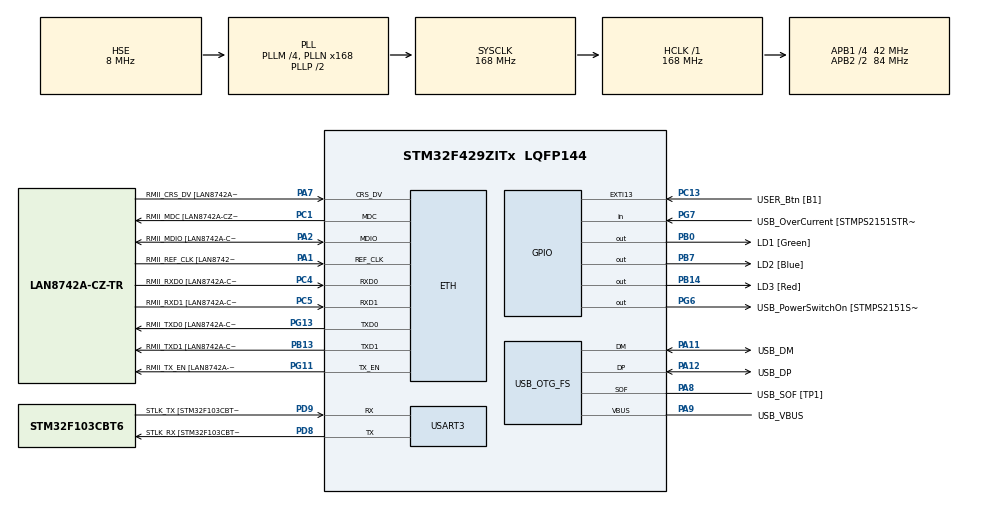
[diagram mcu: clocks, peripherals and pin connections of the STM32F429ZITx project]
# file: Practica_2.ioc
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ETH.MediaInterface=HAL_ETH_RMII_MODE
ETH.PHY_Name=LAN8742A_PHY_ADDRESS
ETH.PHY_Value=0
ETH.PhyAddress=0
Mcu.Family=STM32F4
Mcu.Name=STM32F429ZITx
Mcu.Package=LQFP144
NVIC.PriorityGroup=NVIC_PRIORITYGROUP_4
PA1.GPIO_Label=RMII_REF_CLK [LAN8742A-CZ-TR_REFCLK0]
PA1.Mode=RMII
PA1.Signal=ETH_REF_CLK
PA10.GPIO_Label=USB_ID
PA10.Signal=USB_OTG_FS_ID
PA11.GPIO_Label=USB_DM
PA11.Mode=Device_Only
PA11.Signal=USB_OTG_FS_DM
PA12.GPIO_Label=USB_DP
PA12.Mode=Device_Only
PA12.Signal=USB_OTG_FS_DP
PA13.GPIO_Label=TMS
PA13.Mode=Serial_Wire
PA13.Signal=SYS_JTMS-SWDIO
PA14.GPIO_Label=TCK
PA14.Mode=Serial_Wire
PA14.Signal=SYS_JTCK-SWCLK
PA2.GPIO_Label=RMII_MDIO [LAN8742A-CZ-TR_MDIO]
PA2.Mode=RMII
PA2.Signal=ETH_MDIO
PA7.GPIO_Label=RMII_CRS_DV [LAN8742A-CZ-TR_CRS_DV]
PA7.Mode=RMII
PA7.Signal=ETH_CRS_DV
PA8.GPIO_Label=USB_SOF [TP1]
PA8.Mode=Activate_SOF_FS
PA8.Signal=USB_OTG_FS_SOF
PA9.GPIO_Label=USB_VBUS
PA9.Mode=Activate_VBUS
PA9.Signal=USB_OTG_FS_VBUS
PB0.GPIO_Label=LD1 [Green]
PB0.Signal=GPIO_Output
PB13.GPIO_Label=RMII_TXD1 [LAN8742A-CZ-TR_TXD1]
PB13.Mode=RMII
PB13.Signal=ETH_TXD1
PB14.GPIO_Label=LD3 [Red]
PB14.Signal=GPIO_Output
PB7.GPIO_Label=LD2 [Blue]
PB7.Signal=GPIO_Output
PC1.GPIO_Label=RMII_MDC [LAN8742A-CZ-TR_MDC]
PC1.Mode=RMII
PC1.Signal=ETH_MDC
PC13.GPIO_Label=USER_Btn [B1]
PC13.Signal=GPXTI13
PC14/OSC32_IN.Mode=LSE-External-Oscillator
PC14/OSC32_IN.Signal=RCC_OSC32_IN
PC15/OSC32_OUT.Mode=LSE-External-Oscillator
PC15/OSC32_OUT.Signal=RCC_OSC32_OUT
PC4.GPIO_Label=RMII_RXD0 [LAN8742A-CZ-TR_RXD0]
PC4.Mode=RMII
PC4.Signal=ETH_RXD0
PC5.GPIO_Label=RMII_RXD1 [LAN8742A-CZ-TR_RXD1]
PC5.Mode=RMII
PC5.Signal=ETH_RXD1
PD8.GPIO_Label=STLK_RX [STM32F103CBT6_PA3]
PD8.Mode=Asynchronous
PD8.Signal=USART3_TX
PD9.GPIO_Label=STLK_TX [STM32F103CBT6_PA2]
PD9.Mode=Asynchronous
PD9.Signal=USART3_RX
PG11.GPIO_Label=RMII_TX_EN [LAN8742A-CZ-TR_TXEN]
PG11.Mode=RMII
PG11.Signal=ETH_TX_EN
PG13.GPIO_Label=RMII_TXD0 [LAN8742A-CZ-TR_TXD0]
PG13.Mode=RMII
PG13.Signal=ETH_TXD0
PG6.GPIO_Label=USB_PowerSwitchOn [STMPS2151STR_EN]
PG6.Signal=GPIO_Output
PG7.GPIO_Label=USB_OverCurrent [STMPS2151STR_FAULT]
PG7.Signal=GPIO_Input
PH0/OSC_IN.GPIO_Label=MCO [STM32F103CBT6_PA8]
PH0/OSC_IN.Mode=HSE-External-Clock-Source
PH0/OSC_IN.Signal=RCC_OSC_IN
PH1/OSC_OUT.Mode=HSE-External-Clock-Source
PH1/OSC_OUT.Signal=RCC_OSC_OUT
ProjectManager.HeapSize=0x200
ProjectManager.StackSize=0x400
ProjectManager.TargetToolchain=STM32CubeIDE
RCC.48MHZClocksFreq_Value=48000000
RCC.AHBFreq_Value=168000000
RCC.APB1CLKDivider=RCC_HCLK_DIV4
RCC.APB1Freq_Value=42000000
RCC.APB1TimFreq_Value=84000000
RCC.APB2CLKDivider=RCC_HCLK_DIV2
RCC.APB2Freq_Value=84000000
RCC.APB2TimCLKDivider=2
RCC.APB2TimFreq_Value=168000000
RCC.CortexFreq_Value=168000000
RCC.HCLKFreq_Value=168000000
RCC.HSE_VALUE=8000000
RCC.HSI_VALUE=16000000
RCC.PLLM=4
RCC.PLLMUL=RCC_PLL_MUL9
RCC.PLLN=168
RCC.PLLQ=7
RCC.PRESCALERUSB=RCC_USBCLKSOURCE_PLL_DIV1_5
RCC.SYSCLKFreq_VALUE=168000000
RCC.SYSCLKSource=RCC_SYSCLKSOURCE_PLLCLK
RCC.SYSCLKSourceVirtual=RCC_SYSCLKSOURCE_PLLCLK
RCC.USBFreq_Value=48000000
RCC.VCOOutputFreq_Value=336000000
USART3.VirtualMode=VM_ASYNC
USB_OTG_FS.VirtualMode=Device_Only
board=NUCLEO-F429ZI

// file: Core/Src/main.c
/* USER CODE BEGIN Header */
/**
  ******************************************************************************
  * @file           : main.c
  * @brief          : Main program body
  ******************************************************************************
  * @attention
  *
  * Copyright (c) 2023 STMicroelectronics.
  * All rights reserved.
  *
  * This software is licensed under terms that can be found in the LICENSE file
  * in the root directory of this software component.
  * If no LICENSE file comes with this software, it is provided AS-IS.
  *
  ******************************************************************************
  */
/* USER CODE END Header */
#include "main.h"
#include "string.h"

/* USER CODE BEGIN PD */
#define TimeGreenLed	100
#define TimeRedLed		500
#define	TimeBlueLed		1000
/* USER CODE END PD */

ETH_TxPacketConfig TxConfig;
ETH_DMADescTypeDef  DMARxDscrTab[ETH_RX_DESC_CNT]; /* Ethernet Rx DMA Descriptors */
ETH_DMADescTypeDef  DMATxDscrTab[ETH_TX_DESC_CNT]; /* Ethernet Tx DMA Descriptors */

ETH_HandleTypeDef heth;

UART_HandleTypeDef huart3;

PCD_HandleTypeDef hpcd_USB_OTG_FS;

void SystemClock_Config(void);
static void MX_GPIO_Init(void);
static void MX_ETH_Init(void);
static void MX_USART3_UART_Init(void);
static void MX_USB_OTG_FS_PCD_Init(void);

int main(void)
{

  /* MCU Configuration--------------------------------------------------------*/

  /* Reset of all peripherals, Initializes the Flash interface and the Systick. */
  HAL_Init();

  /* USER CODE BEGIN Init */
  delay_t delay;
  delay_t delayGreenLed, delayRedLed, delayBlueLed;

  /* USER CODE END Init */

  /* Configure the system clock */
  SystemClock_Config();

  /* Initialize all configured peripherals */
  MX_GPIO_Init();
  MX_ETH_Init();
  MX_USART3_UART_Init();
  MX_USB_OTG_FS_PCD_Init();
  /* USER CODE BEGIN 2 */
  delayInit(&delay,200);
  delayInit(&delayGreenLed,TimeGreenLed);
  delayInit(&delayRedLed,TimeBlueLed);
  delayInit(&delayBlueLed,TimeRedLed);

  /* USER CODE END 2 */

  /* Infinite loop */
  while (1)
  {
	  if(delayRead(&delayGreenLed))
		  HAL_GPIO_TogglePin(GPIOB,LD1_Pin);
	  if(delayRead(&delayRedLed))
		  HAL_GPIO_TogglePin(GPIOB,LD3_Pin);
	  if(delayRead(&delayBlueLed))
		  HAL_GPIO_TogglePin(GPIOB,LD2_Pin);

  }
}

void SystemClock_Config(void)
{
  RCC_OscInitTypeDef RCC_OscInitStruct = {0};
  RCC_ClkInitTypeDef RCC_ClkInitStruct = {0};

  /** Configure the main internal regulator output voltage
  */
  __HAL_RCC_PWR_CLK_ENABLE();
  __HAL_PWR_VOLTAGESCALING_CONFIG(PWR_REGULATOR_VOLTAGE_SCALE1);

  /** Initializes the RCC Oscillators according to the specified parameters
  * in the RCC_OscInitTypeDef structure.
  */
  RCC_OscInitStruct.OscillatorType = RCC_OSCILLATORTYPE_HSE;
  RCC_OscInitStruct.HSEState = RCC_HSE_BYPASS;
  RCC_OscInitStruct.PLL.PLLState = RCC_PLL_ON;
  RCC_OscInitStruct.PLL.PLLSource = RCC_PLLSOURCE_HSE;
  RCC_OscInitStruct.PLL.PLLM = 4;
  RCC_OscInitStruct.PLL.PLLN = 168;
  RCC_OscInitStruct.PLL.PLLP = RCC_PLLP_DIV2;
  RCC_OscInitStruct.PLL.PLLQ = 7;
  if (HAL_RCC_OscConfig(&RCC_OscInitStruct) != HAL_OK)
  {
    Error_Handler();
  }

  /** Initializes the CPU, AHB and APB buses clocks
  */
  RCC_ClkInitStruct.ClockType = RCC_CLOCKTYPE_HCLK|RCC_CLOCKTYPE_SYSCLK
                              |RCC_CLOCKTYPE_PCLK1|RCC_CLOCKTYPE_PCLK2;
  RCC_ClkInitStruct.SYSCLKSource = RCC_SYSCLKSOURCE_PLLCLK;
  RCC_ClkInitStruct.AHBCLKDivider = RCC_SYSCLK_DIV1;
  RCC_ClkInitStruct.APB1CLKDivider = RCC_HCLK_DIV4;
  RCC_ClkInitStruct.APB2CLKDivider = RCC_HCLK_DIV2;

  if (HAL_RCC_ClockConfig(&RCC_ClkInitStruct, FLASH_LATENCY_5) != HAL_OK)
  {
    Error_Handler();
  }
}

static void MX_ETH_Init(void)
{

   static uint8_t MACAddr[6];

  heth.Instance = ETH;
  MACAddr[0] = 0x00;
  MACAddr[1] = 0x80;
  MACAddr[2] = 0xE1;
  MACAddr[3] = 0x00;
  MACAddr[4] = 0x00;
  MACAddr[5] = 0x00;
  heth.Init.MACAddr = &MACAddr[0];
  heth.Init.MediaInterface = HAL_ETH_RMII_MODE;
  heth.Init.TxDesc = DMATxDscrTab;
  heth.Init.RxDesc = DMARxDscrTab;
  heth.Init.RxBuffLen = 1524;

  if (HAL_ETH_Init(&heth) != HAL_OK)
  {
    Error_Handler();
  }

  memset(&TxConfig, 0 , sizeof(ETH_TxPacketConfig));
  TxConfig.Attributes = ETH_TX_PACKETS_FEATURES_CSUM | ETH_TX_PACKETS_FEATURES_CRCPAD;
  TxConfig.ChecksumCtrl = ETH_CHECKSUM_IPHDR_PAYLOAD_INSERT_PHDR_CALC;
  TxConfig.CRCPadCtrl = ETH_CRC_PAD_INSERT;

}

static void MX_USART3_UART_Init(void)
{

  huart3.Instance = USART3;
  huart3.Init.BaudRate = 115200;
  huart3.Init.WordLength = UART_WORDLENGTH_8B;
  huart3.Init.StopBits = UART_STOPBITS_1;
  huart3.Init.Parity = UART_PARITY_NONE;
  huart3.Init.Mode = UART_MODE_TX_RX;
  huart3.Init.HwFlowCtl = UART_HWCONTROL_NONE;
  huart3.Init.OverSampling = UART_OVERSAMPLING_16;
  if (HAL_UART_Init(&huart3) != HAL_OK)
  {
    Error_Handler();
  }

}

static void MX_USB_OTG_FS_PCD_Init(void)
{

  hpcd_USB_OTG_FS.Instance = USB_OTG_FS;
  hpcd_USB_OTG_FS.Init.dev_endpoints = 4;
  hpcd_USB_OTG_FS.Init.speed = PCD_SPEED_FULL;
  hpcd_USB_OTG_FS.Init.dma_enable = DISABLE;
  hpcd_USB_OTG_FS.Init.phy_itface = PCD_PHY_EMBEDDED;
  hpcd_USB_OTG_FS.Init.Sof_enable = ENABLE;
  hpcd_USB_OTG_FS.Init.low_power_enable = DISABLE;
  hpcd_USB_OTG_FS.Init.lpm_enable = DISABLE;
  hpcd_USB_OTG_FS.Init.vbus_sensing_enable = ENABLE;
  hpcd_USB_OTG_FS.Init.use_dedicated_ep1 = DISABLE;
  if (HAL_PCD_Init(&hpcd_USB_OTG_FS) != HAL_OK)
  {
    Error_Handler();
  }

}

static void MX_GPIO_Init(void)
{
  GPIO_InitTypeDef GPIO_InitStruct = {0};

  /* GPIO Ports Clock Enable */
  __HAL_RCC_GPIOC_CLK_ENABLE();
  __HAL_RCC_GPIOH_CLK_ENABLE();
  __HAL_RCC_GPIOA_CLK_ENABLE();
  __HAL_RCC_GPIOB_CLK_ENABLE();
  __HAL_RCC_GPIOD_CLK_ENABLE();
  __HAL_RCC_GPIOG_CLK_ENABLE();

  /*Configure GPIO pin Output Level */
  HAL_GPIO_WritePin(GPIOB, LD1_Pin|LD3_Pin|LD2_Pin, GPIO_PIN_RESET);

  /*Configure GPIO pin Output Level */
  HAL_GPIO_WritePin(USB_PowerSwitchOn_GPIO_Port, USB_PowerSwitchOn_Pin, GPIO_PIN_RESET);

  /*Configure GPIO pin : USER_Btn_Pin */
  GPIO_InitStruct.Pin = USER_Btn_Pin;
  GPIO_InitStruct.Mode = GPIO_MODE_IT_RISING;
  GPIO_InitStruct.Pull = GPIO_NOPULL;
  HAL_GPIO_Init(USER_Btn_GPIO_Port, &GPIO_InitStruct);

  /*Configure GPIO pins : LD1_Pin LD3_Pin LD2_Pin */
  GPIO_InitStruct.Pin = LD1_Pin|LD3_Pin|LD2_Pin;
  GPIO_InitStruct.Mode = GPIO_MODE_OUTPUT_PP;
  GPIO_InitStruct.Pull = GPIO_NOPULL;
  GPIO_InitStruct.Speed = GPIO_SPEED_FREQ_LOW;
  HAL_GPIO_Init(GPIOB, &GPIO_InitStruct);

  /*Configure GPIO pin : USB_PowerSwitchOn_Pin */
  GPIO_InitStruct.Pin = USB_PowerSwitchOn_Pin;
  GPIO_InitStruct.Mode = GPIO_MODE_OUTPUT_PP;
  GPIO_InitStruct.Pull = GPIO_NOPULL;
  GPIO_InitStruct.Speed = GPIO_SPEED_FREQ_LOW;
  HAL_GPIO_Init(USB_PowerSwitchOn_GPIO_Port, &GPIO_InitStruct);

  /*Configure GPIO pin : USB_OverCurrent_Pin */
  GPIO_InitStruct.Pin = USB_OverCurrent_Pin;
  GPIO_InitStruct.Mode = GPIO_MODE_INPUT;
  GPIO_InitStruct.Pull = GPIO_NOPULL;
  HAL_GPIO_Init(USB_OverCurrent_GPIO_Port, &GPIO_InitStruct);

}

/* USER CODE BEGIN 4 */

void delayInit(delay_t *delay, tick_t duration)
{
	//TODO: include asserts for parameters

	delay->running = false;
	delay->duration = duration;
}

bool_t delayRead(delay_t *delay)
{
	if(!delay->running)
	{
		delay->running = true;
		delay->startTime = HAL_GetTick();
	}
	else
	{
		if((HAL_GetTick() - delay->startTime) >= delay->duration)
		{
			delay->running = false;
			return true;
		}
	}
	return false;
}

void delayWrite(delay_t *delay, tick_t duration)
{
	delay->duration = duration;
	delay->startTime = HAL_GetTick();
}
/* USER CODE END 4 */

void Error_Handler(void)
{
  __disable_irq();
  while (1)
  {
  }
}
